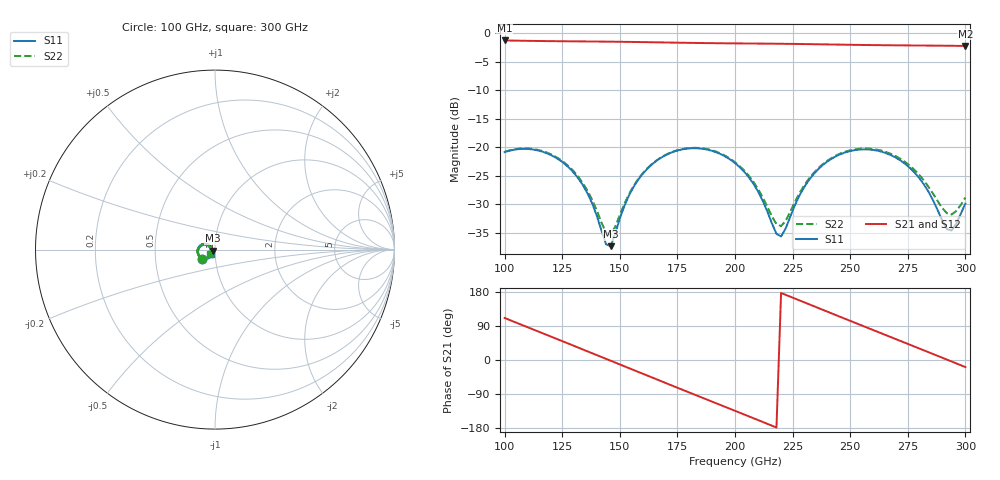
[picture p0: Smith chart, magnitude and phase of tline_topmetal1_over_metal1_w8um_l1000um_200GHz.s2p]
#  GHZ S DB R 50
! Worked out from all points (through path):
!   101 points, 100 GHz to 300 GHz, reference 50 ohm
!   highest |S21| = -1.23 dB at 100 GHz (marker M1); lowest = -2.2 dB at 300 GHz (marker M2)
!   group delay of S21, straight-line fit = 6.8 ps
!   lowest |S11| = -37.4 dB at 146 GHz (marker M3), VSWR 1.03, Z = 48.8 - j0.533 ohm
!   |S11| at or under -10 dB: start of sweep to end of sweep
!   |S22| runs from -35.4 to -20.1 dB; largest |S21 - S12| = 9.4e-14
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100  -20.84 -145.6  -1.23 111.0  -1.23 111.0  -20.78 -145.1
108  -20.27 -163.7  -1.29 91.4  -1.29 91.4  -20.19 -162.6
116  -20.71 178.4  -1.33 71.8  -1.33 71.8  -20.60 -179.8
126  -22.88 157.6  -1.37 47.3  -1.37 47.3  -22.70 160.4
134  -26.65 144.7  -1.40 27.7  -1.40 27.7  -26.30 149.1
144  -37.01 173.7  -1.44 3.1  -1.44 3.1  -34.96 176.7
146  -37.35 -156.2  -1.44 -1.8  -1.44 -1.8  -35.35 -160.6
156  -26.92 -120.4  -1.50 -26.5  -1.50 -26.5  -26.78 -123.6
168  -21.79 -140.3  -1.57 -56.0  -1.57 -56.0  -21.74 -140.8
184  -20.17 -173.6  -1.68 -95.1  -1.68 -95.1  -20.10 -172.5
200  -22.76 154.6  -1.75 -134.1  -1.75 -134.1  -22.60 157.5
208  -26.39 143.5  -1.77 -153.7  -1.77 -153.7  -26.07 148.0
218  -35.20 171.1  -1.81 -178.2  -1.81 -178.2  -33.48 174.8
220  -35.65 -165.7  -1.81 176.9  -1.81 176.9  -33.83 -166.9
234  -24.76 -131.7  -1.89 142.5  -1.89 142.5  -24.57 -133.5
244  -21.53 -148.5  -1.95 118.0  -1.95 118.0  -21.40 -148.5
252  -20.49 -164.2  -2.00 98.5  -2.00 98.5  -20.35 -163.2
268  -21.43 164.3  -2.08 59.6  -2.08 59.6  -21.20 167.4
280  -25.40 145.8  -2.12 30.3  -2.12 30.3  -24.86 151.8
292  -34.35 173.2  -2.16 1.0  -2.16 1.0  -31.58 176.1
294  -34.60 -166.8  -2.17 -3.9  -2.17 -3.9  -31.78 -170.6
300  -29.88 -133.5  -2.19 -18.7  -2.19 -18.7  -28.82 -143.0
